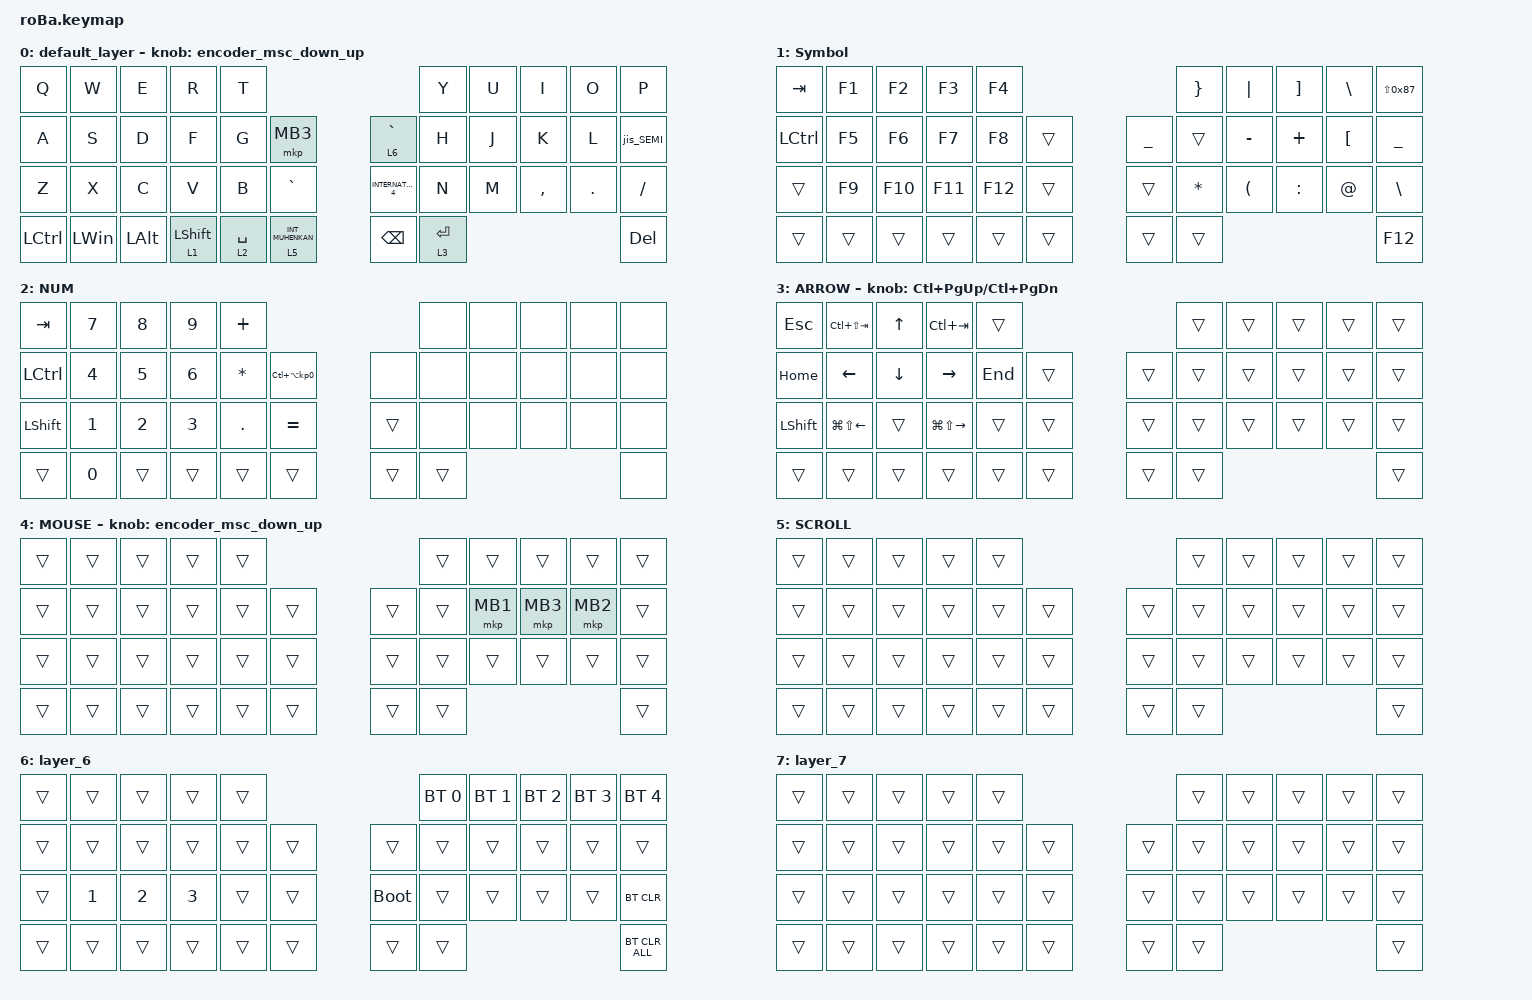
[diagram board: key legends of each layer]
#include <behaviors.dtsi>
#include <dt-bindings/zmk/bt.h>
#include <dt-bindings/zmk/keys.h>
#include <dt-bindings/zmk/pointing.h>

// #includeのあとのあたりにスクロール量変更の定義を追記

#define ZMK_POINTING_DEFAULT_SCRL_VAL 80

// OS設定を日本語キーボードのまま使用するための変換定義

#define JP_DQUOTE       AT                // "
#define JP_AMPERSAND    CARET             // &
#define JP_QUOTE        AMPERSAND         // '
#define JP_EQUAL        UNDER             // =
#define JP_CARET        EQUAL             // ^
#define JP_YEN          0x89              // ¥
#define JP_PLUS         COLON             // +
#define JP_TILDE        PLUS              // ~
#define JP_PIPE         LS(0x89)          // |
#define JP_AT           LEFT_BRACKET      // @
#define JP_COLON        SINGLE_QUOTE      // :
#define JP_ASTERISK     DOUBLE_QUOTES     // *
#define JP_BACKQUOTE    LEFT_BRACE        // `
#define JP_UNDERSCORE   LS(0x87)          // _
#define JP_LBRACKET     RIGHT_BRACKET     // [
#define JP_RBRACKET     BACKSLASH         // ]
#define JP_LPAREN       ASTERISK          // (
#define JP_RPAREN       LEFT_PARENTHESIS  // )
#define JP_LBRACE       RIGHT_BRACE       // {
#define JP_RBRACE       PIPE              // }
#define JP_KANA         LANGUAGE_1        // かな
#define JP_EISU         LANGUAGE_2        // 英数
#define JP_HANZEN       GRAVE             // 半角/全角
#define MOUSE 4
#define SCROLL 5
#define NUM 6

&mt {
    flavor = "balanced";
    quick-tap-ms = <0>;
};

/ {
    combos {
        compatible = "zmk,combos";

        tab {
            bindings = <&kp TAB>;
            key-positions = <11 10>;
        };

        shift_tab {
            bindings = <&kp ESC>;
            key-positions = <0 1>;
        };
    };

    macros {
        to_layer_0: to_layer_0 {
            compatible = "zmk,behavior-macro-one-param";
            #binding-cells = <1>;
            bindings = <&to 0 &macro_param_1to1 &kp MACRO_PLACEHOLDER>;
            label = "TO_LAYER_0";
        };
    };

    behaviors {
        lt_to_layer_0: lt_to_layer_0 {
            compatible = "zmk,behavior-hold-tap";
            label = "LAYER_TAP_TO_0";
            bindings = <&mo>, <&to_layer_0>;

            #binding-cells = <2>;
            tapping-term-ms = <200>;
        };

        encoder_msc_down_up: encoder_msc_down_up {
            compatible = "zmk,behavior-sensor-rotate";
            label = "ENCODER_MSC_DOWN_UP";
            #sensor-binding-cells = <0>;
            bindings = <&msc SCRL_DOWN>, <&msc SCRL_UP>;

            tap-ms = <20>;
        };

        //コロンセミコロン

        jis_SEMI: jis_SEMI {
            compatible = "zmk,behavior-mod-morph";
            label = "jis_SEMI";
            #binding-cells = <0>;
            bindings = <&kp SEMI>, <&kp SQT>;

            mods = <(MOD_LSFT|MOD_RSFT)>;

            //keep-mods = <(MOD_LSFT|MOD_RSFT)>;
        };
    };

    keymap {
        compatible = "zmk,keymap";

        default_layer {
            bindings = <
&kp Q      &kp W         &kp E         &kp R                        &kp T                                                                   &kp Y        &kp U  &kp I      &kp O    &kp P
&kp A      &kp S         &kp D         &kp F                        &kp G        &mkp MB3                           &lt_to_layer_0 6 GRAVE  &kp H        &kp J  &kp K      &kp L    &jis_SEMI
&kp Z      &kp X         &kp C         &kp V                        &kp B        &kp GRAVE                          &kp INTERNATIONAL_4     &kp N        &kp M  &kp COMMA  &kp DOT  &kp SLASH
&kp LCTRL  &kp LEFT_WIN  &kp LEFT_ALT  &lt_to_layer_0 1 LEFT_SHIFT  &lt 2 SPACE  &lt_to_layer_0 5 INT_MUHENKAN      &kp BACKSPACE           &lt 3 ENTER                             &kp DEL
            >;

            sensor-bindings = <&encoder_msc_down_up>;
        };

        Symbol {
            bindings = <
&kp TAB           &kp F1  &kp F2   &kp F3   &kp F4                             &kp JP_LBRACE  &kp JP_RBRACE  &kp JP_LBRACKET  &kp JP_RBRACKET  &kp JP_UNDERSCORE
&kp LEFT_CONTROL  &kp F5  &kp F6   &kp F7   &kp F8   &trans      &kp JP_EQUAL  &trans         &kp MINUS      &kp JP_TILDE     &kp JP_AT        &kp JP_EQUAL
&trans            &kp F9  &kp F10  &kp F11  &kp F12  &trans      &trans        &kp JP_LPAREN  &kp JP_RPAREN  &kp JP_PLUS      &kp JP_DQUOTE    &kp BACKSLASH
&trans            &trans  &trans   &trans   &trans   &trans      &trans        &trans                                                          &kp F12
            >;
        };

        NUM {
            bindings = <
&kp TAB           &kp N7        &kp N8        &kp N9        &kp PLUS                                           &none   &none  &none  &none  &none
&kp LEFT_CONTROL  &kp NUMBER_4  &kp N5        &kp NUMBER_6  &kp ASTERISK  &kp LC(LA(KP_NUMBER_0))      &none   &none   &none  &none  &none  &none
&kp LEFT_SHIFT    &kp NUMBER_1  &kp NUMBER_2  &kp NUMBER_3  &kp PERIOD    &kp EQUAL                    &trans  &none   &none  &none  &none  &none
&trans            &kp NUMBER_0  &trans        &trans        &trans        &trans                       &trans  &trans                       &none
            >;
        };

        ARROW {
            bindings = <
&kp ESCAPE      &kp LC(LS(TAB))         &kp UP_ARROW    &kp LC(TAB)              &trans                       &trans  &trans  &trans  &trans  &trans
&kp HOME        &kp LEFT_ARROW          &kp DOWN_ARROW  &kp RIGHT_ARROW          &kp END  &trans      &trans  &trans  &trans  &trans  &trans  &trans
&kp LEFT_SHIFT  &kp LG(LS(LEFT_ARROW))  &trans          &kp LG(LS(RIGHT_ARROW))  &trans   &trans      &trans  &trans  &trans  &trans  &trans  &trans
&trans          &trans                  &trans          &trans                   &trans   &trans      &trans  &trans                          &trans
            >;

            sensor-bindings = <&inc_dec_kp LC(PAGE_UP) LC(PAGE_DOWN)>;
        };

        MOUSE {
            bindings = <
&trans  &trans  &trans  &trans  &trans                      &trans  &trans    &trans    &trans    &trans
&trans  &trans  &trans  &trans  &trans  &trans      &trans  &trans  &mkp MB1  &mkp MB3  &mkp MB2  &trans
&trans  &trans  &trans  &trans  &trans  &trans      &trans  &trans  &trans    &trans    &trans    &trans
&trans  &trans  &trans  &trans  &trans  &trans      &trans  &trans                                &trans
            >;

            sensor-bindings = <&encoder_msc_down_up>;
        };

        SCROLL {
            bindings = <
&trans  &trans  &trans  &trans  &trans                      &trans  &trans  &trans  &trans  &trans
&trans  &trans  &trans  &trans  &trans  &trans      &trans  &trans  &trans  &trans  &trans  &trans
&trans  &trans  &trans  &trans  &trans  &trans      &trans  &trans  &trans  &trans  &trans  &trans
&trans  &trans  &trans  &trans  &trans  &trans      &trans  &trans                          &trans
            >;
        };

        layer_6 {
            bindings = <
&trans  &trans        &trans        &trans        &trans                           &bt BT_SEL 0  &bt BT_SEL 1  &bt BT_SEL 2  &bt BT_SEL 3  &bt BT_SEL 4
&trans  &trans        &trans        &trans        &trans  &trans      &trans       &trans        &trans        &trans        &trans        &trans
&trans  &kp NUMBER_1  &kp NUMBER_2  &kp NUMBER_3  &trans  &trans      &bootloader  &trans        &trans        &trans        &trans        &bt BT_CLR
&trans  &trans        &trans        &trans        &trans  &trans      &trans       &trans                                                  &bt BT_CLR_ALL
            >;
        };

        layer_7 {
            bindings = <
&trans  &trans  &trans  &trans  &trans                      &trans  &trans  &trans  &trans  &trans
&trans  &trans  &trans  &trans  &trans  &trans      &trans  &trans  &trans  &trans  &trans  &trans
&trans  &trans  &trans  &trans  &trans  &trans      &trans  &trans  &trans  &trans  &trans  &trans
&trans  &trans  &trans  &trans  &trans  &trans      &trans  &trans                          &trans
            >;
        };
    };
};
